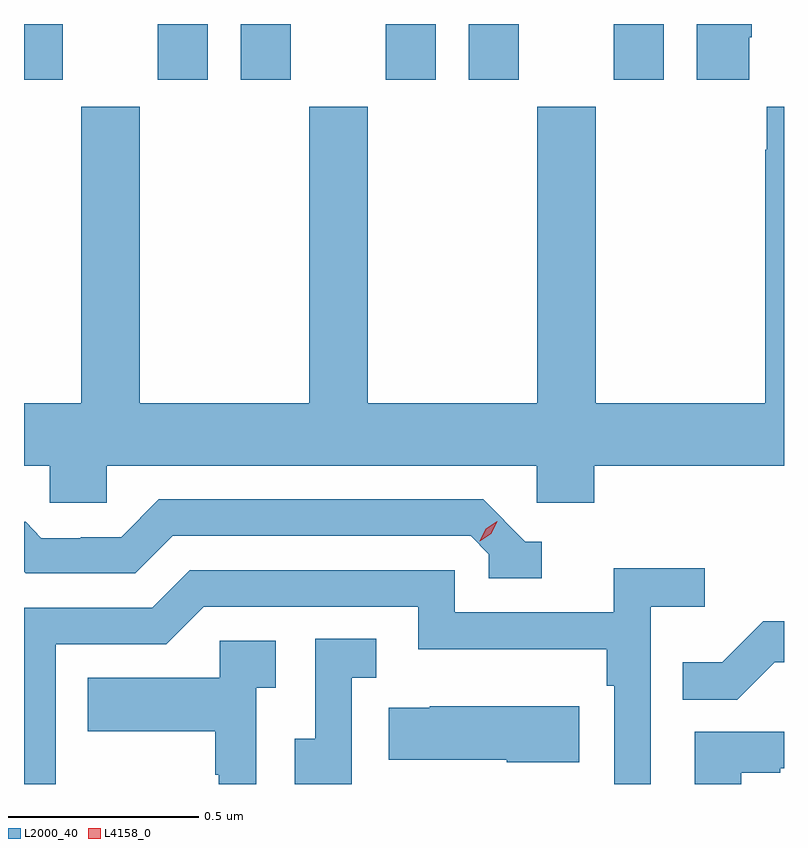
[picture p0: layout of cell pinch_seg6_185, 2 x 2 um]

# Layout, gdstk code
import gdstk
lib = gdstk.Library(unit=1e-6, precision=1e-09)
def R(c, l, rs):  # rectangles x0, y0, x1, y1
    for r in rs: c.add(gdstk.rectangle(r[:2], r[2:], *l))
def P(c, l, *ps):  # polygons
    for p in ps: c.add(gdstk.Polygon(p, *l))
L2000_40 = (2000, 40)
L4158_0 = (4158, 0)

pinch_seg6_185 = lib.new_cell('pinch_seg6_185')
R(pinch_seg6_185, L2000_40, [(1036.501,933.699,1036.603,933.846), (1036.853,933.699,1036.984,933.846), (1037.072,933.699,1037.203,933.846), (1037.453,933.699,1037.584,933.846), (1037.672,933.699,1037.803,933.846), (1038.053,933.699,1038.184,933.846)])
P(pinch_seg6_185, L2000_40, [(1038.409,933.811),(1038.416,933.811),(1038.416,933.846),(1038.272,933.846),(1038.272,933.699),(1038.409,933.699)],
  [(1038.501,933.628),(1038.455,933.628),(1038.455,933.515),(1038.451,933.515),(1038.451,932.848),(1038.006,932.848),(1038.006,933.628),(1037.851,933.628),(1037.851,932.848),(1037.406,932.848),(1037.406,933.628),(1037.251,933.628),(1037.251,932.848),(1036.805,932.848),(1036.805,933.628),(1036.651,933.628),(1036.651,932.848),(1036.501,932.848),(1036.501,932.684),(1036.569,932.684),(1036.569,932.586),(1036.719,932.586),(1036.719,932.684),(1037.85,932.684),(1037.85,932.586),(1038.002,932.586),(1038.002,932.684),(1038.501,932.684)],
  [(1037.863,932.484),(1037.82,932.484),(1037.709,932.595),(1036.856,932.595),(1036.757,932.496),(1036.65,932.496),(1036.65,932.493),(1036.547,932.493),(1036.505,932.536),(1036.501,932.536),(1036.501,932.404),(1036.505,932.4),(1036.794,932.4),(1036.893,932.499),(1037.676,932.499),(1037.724,932.451),(1037.724,932.388),(1037.863,932.388)],
  [(1036.584,932.214),(1036.875,932.214),(1036.974,932.313),(1037.538,932.313),(1037.538,932.201),(1038.034,932.201),(1038.034,932.105),(1038.054,932.105),(1038.054,931.846),(1038.15,931.846),(1038.15,932.312),(1038.292,932.312),(1038.292,932.414),(1038.053,932.414),(1038.053,932.298),(1037.634,932.298),(1037.634,932.409),(1036.937,932.409),(1036.838,932.31),(1036.501,932.31),(1036.501,931.846),(1036.584,931.846)],
  [(1038.476,932.166),(1038.501,932.166),(1038.501,932.274),(1038.446,932.274),(1038.339,932.167),(1038.235,932.167),(1038.235,932.068),(1038.378,932.068)],
  [(1037.364,932.125),(1037.428,932.125),(1037.428,932.228),(1037.268,932.228),(1037.268,931.965),(1037.213,931.965),(1037.213,931.846),(1037.364,931.846)],
  [(1037.112,932.099),(1037.164,932.099),(1037.164,932.223),(1037.016,932.223),(1037.016,932.125),(1036.669,932.125),(1036.669,931.985),(1037.004,931.985),(1037.004,931.871),(1037.014,931.871),(1037.014,931.846),(1037.112,931.846)],
  [(1037.962,932.05),(1037.569,932.05),(1037.569,932.047),(1037.461,932.047),(1037.461,931.91),(1037.771,931.91),(1037.771,931.903),(1037.962,931.903)],
  [(1038.388,931.875),(1038.491,931.875),(1038.491,931.887),(1038.501,931.887),(1038.501,931.983),(1038.266,931.983),(1038.266,931.846),(1038.388,931.846)])
P(pinch_seg6_185, L4158_0, [(1037.7,932.485),(1037.7,932.485),(1037.716,932.518),(1037.746,932.537),(1037.747,932.537),(1037.747,932.537),(1037.731,932.504),(1037.7,932.485)])

lib.write_gds('pinch_seg6_185.gds')
